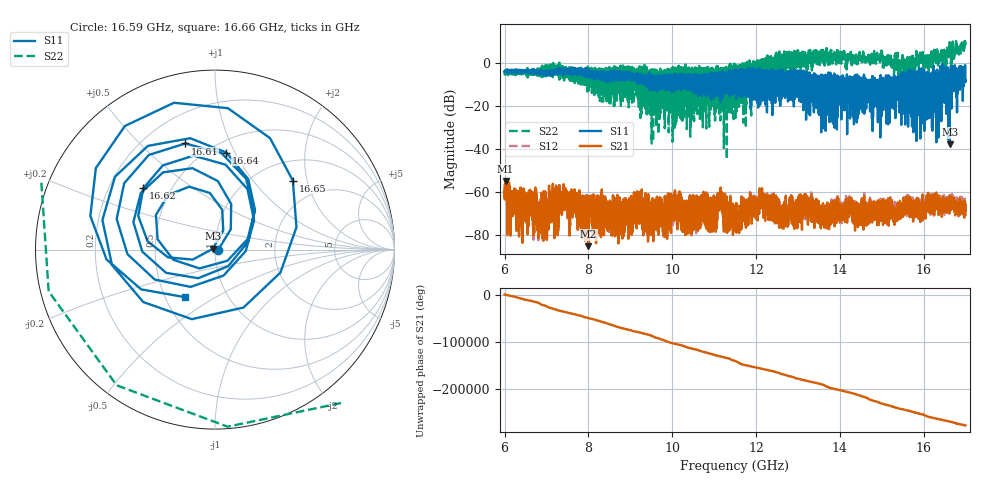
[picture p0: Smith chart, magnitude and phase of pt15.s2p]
#  HZ  S  RI  R  50.00
! Rohde & Schwarz Vector Network Analyzer
! Rohde-Schwarz,ZNA67-2Port,1332450062101215,3.01
! Created: UTC 10/26/2026, 5:05:56 PM
! freq[Hz]  re:S11  im:S11  re:S21  im:S21  re:S12  im:S12  re:S22  im:S22
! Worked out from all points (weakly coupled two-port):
!   11001 points, 6 GHz to 17 GHz, reference 50 ohm
!   highest |S21| = -54.75 dB at 6.022 GHz (marker M1); lowest = -84.9 dB at 7.996 GHz (marker M2)
!   lowest |S11| = -37.8 dB at 16.62 GHz (marker M3), VSWR 1.03, Z = 48.8 + j0.421 ohm
!   |S11| at or under -10 dB: 14.9192 GHz to 14.93603 GHz (16.83 MHz wide, 0.113 % of centre); 15.00218 GHz to 15.01806 GHz (15.88 MHz wide, 0.106 % of centre); 15.04855 GHz to 15.06498 GHz (16.44 MHz wide, 0.109 % of centre) (the widest 3 of 632)
!   |S22| runs from -44.7 to 10.3 dB; largest |S21 - S12| = 0.0011
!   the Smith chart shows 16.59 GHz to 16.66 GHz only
!   S11 on the Smith chart (normalised r, x): 16.59 GHz: 1.03, -0.01; 16.61 GHz: 0.36, +0.69; 16.62 GHz: 0.35, +0.33; 16.64 GHz: 0.60, +0.92; 16.65 GHz: 1.42, +1.64; 16.66 GHz: 0.63, -0.37
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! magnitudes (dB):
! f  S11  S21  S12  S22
! 6 GHz  -4.2  -59.7  -59.6  -4.3
! 6.022 GHz  -4.1  -54.7  -54.7  -4.1
! 6.82 GHz  -4.0  -69.2  -69.2  -3.9
! 7.427 GHz  -3.5  -63.3  -63.8  -2.5
! 7.834 GHz  -3.6  -79.3  -76.5  -3.1
! 7.996 GHz  -5.3  -84.9  -81.5  -3.2
! 9.667 GHz  -7.0  -72.1  -71.2  -4.6
! 10.99 GHz  -5.2  -72.8  -73.3  -3.9
! 11.14 GHz  -15.8  -65.4  -64.4  -8.2
! 11.5 GHz  -3.5  -69.1  -68.6  -5.5
! 12.14 GHz  -5.2  -66.3  -63.9  -1.8
! 12.59 GHz  -7.1  -73.0  -69.8  3.3
! 13.33 GHz  -7.9  -66.2  -65.7  -2.6
! 15.17 GHz  -19.0  -64.9  -64.1  0.1
! 16.59 GHz  -35.5  -65.4  -68.0  4.7
! 16.61 GHz  -4.2  -68.0  -65.1  4.4
! 16.62 GHz  -5.6  -67.0  -65.2  5.5
! 16.62 GHz  -37.8  -65.3  -65.5  8.7
! 16.64 GHz  -5.3  -67.0  -66.9  6.1
! 16.65 GHz  -4.7  -65.3  -67.6  3.5
! 16.66 GHz  -10.1  -66.5  -63.6  2.9
! 17 GHz  -8.0  -70.4  -69.6  8.8
